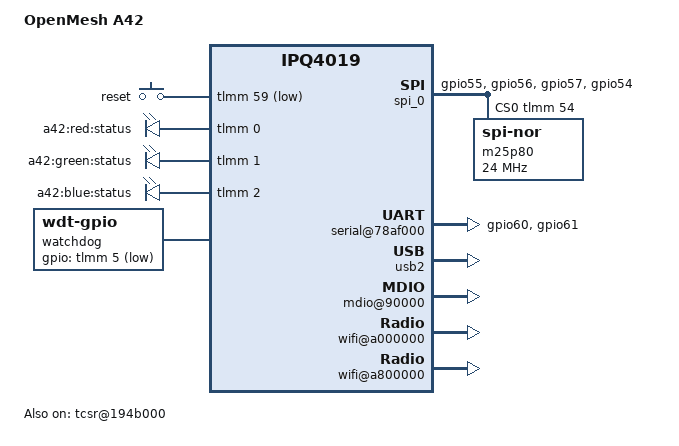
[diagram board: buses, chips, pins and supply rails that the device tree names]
/* Copyright (c) 2015, The Linux Foundation. All rights reserved.
 * Copyright (c) 2017, Sven Eckelmann <sven.eckelmann@openmesh.com>
 *
 * Permission to use, copy, modify, and/or distribute this software for any
 * purpose with or without fee is hereby granted, provided that the above
 * copyright notice and this permission notice appear in all copies.
 *
 * THE SOFTWARE IS PROVIDED "AS IS" AND THE AUTHOR DISCLAIMS ALL WARRANTIES
 * WITH REGARD TO THIS SOFTWARE INCLUDING ALL IMPLIED WARRANTIES OF
 * MERCHANTABILITY AND FITNESS. IN NO EVENT SHALL THE AUTHOR BE LIABLE FOR
 * ANY SPECIAL, DIRECT, INDIRECT, OR CONSEQUENTIAL DAMAGES OR ANY DAMAGES
 * WHATSOEVER RESULTING FROM LOSS OF USE, DATA OR PROFITS, WHETHER IN AN
 * ACTION OF CONTRACT, NEGLIGENCE OR OTHER TORTIOUS ACTION, ARISING OUT OF
 * OR IN CONNECTION WITH THE USE OR PERFORMANCE OF THIS SOFTWARE.
 *
 */

#include "qcom-ipq4019.dtsi"
#include "qcom-ipq4019-bus.dtsi"
#include <dt-bindings/gpio/gpio.h>
#include <dt-bindings/input/input.h>
#include <dt-bindings/soc/qcom,tcsr.h>

/ {
	model = "OpenMesh A42";
	compatible = "openmesh,a42", "qcom,ipq4019";

	reserved-memory {
		#address-cells = <0x1>;
		#size-cells = <0x1>;
		ranges;

		rsvd1@87000000 {
			reg = <0x87000000 0x500000>;
			no-map;
		};

		wifi_dump@87500000 {
			reg = <0x87500000 0x600000>;
			no-map;
		};

		rsvd2@87B00000 {
			reg = <0x87b00000 0x500000>;
			no-map;
		};
	};

	soc {
		tcsr@194b000 {
			/* select hostmode */
			compatible = "qcom,tcsr";
			reg = <0x194b000 0x100>;
			qcom,usb-hsphy-mode-select = <TCSR_USB_HSPHY_HOST_MODE>;
			status = "ok";
		};

		ess_tcsr@1953000 {
			compatible = "qcom,tcsr";
			reg = <0x1953000 0x1000>;
			qcom,ess-interface-select = <TCSR_ESS_PSGMII>;
		};

		tcsr@1949000 {
			compatible = "qcom,tcsr";
			reg = <0x1949000 0x100>;
			qcom,wifi_glb_cfg = <TCSR_WIFI_GLB_CFG>;
		};

		tcsr@1957000 {
			compatible = "qcom,tcsr";
			reg = <0x1957000 0x100>;
			qcom,wifi_noc_memtype_m0_m2 = <TCSR_WIFI_NOC_MEMTYPE_M0_M2>;
		};

		pinctrl@1000000 {
			serial_pins: serial_pinmux {
				mux {
					pins = "gpio60", "gpio61";
					function = "blsp_uart0";
					bias-disable;
				};
			};

			spi_0_pins: spi_0_pinmux {
				pinmux {
					function = "blsp_spi0";
					pins = "gpio55", "gpio56", "gpio57";
				};
				pinmux_cs {
					function = "gpio";
					pins = "gpio54";
				};
				pinconf {
					pins = "gpio55", "gpio56", "gpio57";
					drive-strength = <12>;
					bias-disable;
				};
				pinconf_cs {
					pins = "gpio54";
					drive-strength = <2>;
					bias-disable;
					output-high;
				};
			};
		};

		blsp_dma: dma@7884000 {
			status = "ok";
		};

		spi_0: spi@78b5000 {
			pinctrl-0 = <&spi_0_pins>;
			pinctrl-names = "default";
			status = "ok";
			cs-gpios = <&tlmm 54 0>;

			m25p80@0 {
				#address-cells = <1>;
				#size-cells = <1>;
				compatible = "jedec,spi-nor";
				reg = <0>;
				spi-max-frequency = <24000000>;

				/* partitions are passed via bootloader */
			};
		};

		serial@78af000 {
			pinctrl-0 = <&serial_pins>;
			pinctrl-names = "default";
			status = "ok";
		};

		cryptobam: dma@8e04000 {
			status = "ok";
		};

		crypto@8e3a000 {
			status = "ok";
		};

		watchdog@b017000 {
			status = "ok";
		};

		usb2_hs_phy: hsphy@a8000 {
			status = "ok";
		};

		usb2: usb2@60f8800 {
			status = "ok";
		};

		mdio@90000 {
			status = "okay";
		};

		ess-switch@c000000 {
			status = "okay";
		};

		ess-psgmii@98000 {
			status = "okay";
		};

		edma@c080000 {
			status = "okay";
		};

		wifi@a000000 {
			status = "okay";
			qcom,ath10k-calibration-variant = "OM-A42";
		};

		wifi@a800000 {
			status = "okay";
			qcom,ath10k-calibration-variant = "OM-A42";
		};
	};

	gpio-keys {
		compatible = "gpio-keys";

		reset {
			label = "reset";
			gpios = <&tlmm 59 GPIO_ACTIVE_LOW>;
			linux,code = <KEY_RESTART>;
		};
	};

	aliases {
		led-boot = &power;
		led-failsafe = &power;
		led-running = &power;
		led-upgrade = &power;
	};

	gpio-leds {
		compatible = "gpio-leds";

		red {
			label = "a42:red:status";
			gpios = <&tlmm 0 GPIO_ACTIVE_HIGH>;
			linux,default-trigger = "default-off";
		};

		power: green {
			label = "a42:green:status";
			gpios = <&tlmm 1 GPIO_ACTIVE_HIGH>;
		};

		blue {
			label = "a42:blue:status";
			gpios = <&tlmm 2 GPIO_ACTIVE_HIGH>;
			linux,default-trigger = "default-off";
		};
	};

	watchdog {
		compatible = "linux,wdt-gpio";
		gpios = <&tlmm 5 GPIO_ACTIVE_LOW>;
		hw_algo = "toggle";
		/* hw_margin_ms is actually 300s but driver limits it to 60s */
		hw_margin_ms = <60000>;
		always-running;
	};
};

&gmac0 {
	qcom,phy_mdio_addr = <4>;
	qcom,poll_required = <1>;
	qcom,forced_speed = <1000>;
	qcom,forced_duplex = <1>;
	vlan_tag = <2 0x20>;
};

&gmac1 {
	qcom,phy_mdio_addr = <3>;
	qcom,poll_required = <1>;
	qcom,forced_speed = <1000>;
	qcom,forced_duplex = <1>;
	vlan_tag = <1 0x10>;
};
